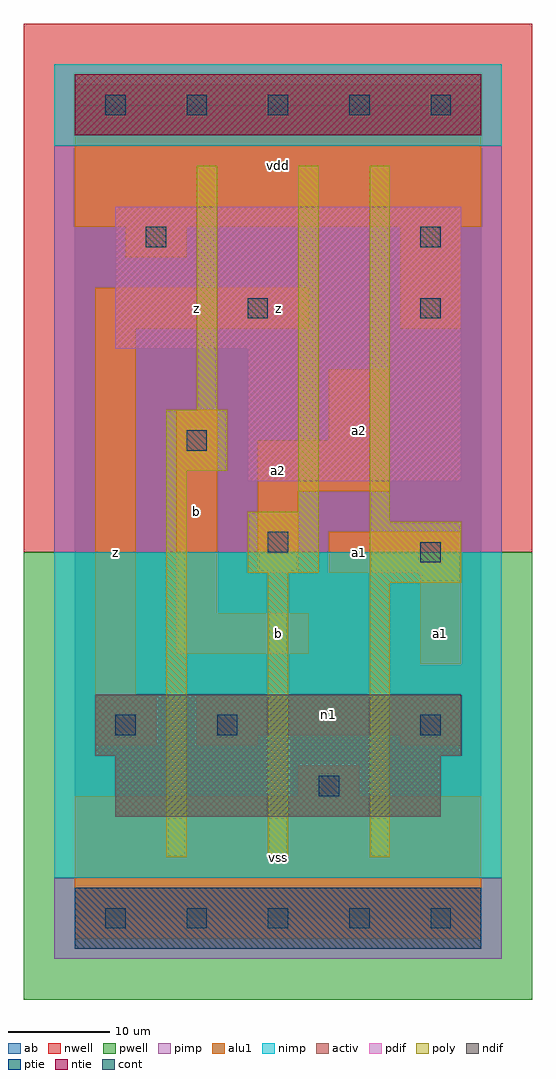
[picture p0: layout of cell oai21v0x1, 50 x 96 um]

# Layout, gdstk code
import gdstk
lib = gdstk.Library(unit=1e-6, precision=1e-09)
def R(c, l, rs):  # rectangles x0, y0, x1, y1
    for r in rs: c.add(gdstk.rectangle(r[:2], r[2:], *l))
def A(c, l, x, y, w, h, nx, ny, dx, dy):  # array of equal rectangles
    R(c, l, [(x+i*dx, y+j*dy, x+i*dx+w, y+j*dy+h) for i in range(nx) for j in range(ny)])
ndif = (3, 0)
pdif = (4, 0)
ntie = (5, 0)
ptie = (6, 0)
cont = (25, 0)
pwell = (41, 0)
nwell = (42, 0)
activ = (43, 0)
pimp = (44, 0)
nimp = (45, 0)
poly = (46, 0)
alu1 = (49, 0)
ab = (63, 0)

oai21v0x1 = lib.new_cell('oai21v0x1')
R(oai21v0x1, ndif, [(4,10,36,16), (2,16,38,22)])
R(oai21v0x1, pdif, [(17,43,38,56), (4,56,38,70)])
R(oai21v0x1, ntie, [(0,77,40,83)])
R(oai21v0x1, ptie, [(0,-3,40,3)])
A(oai21v0x1, cont, 3, -1, 2, 2, 5, 2, 8, 80)
R(oai21v0x1, cont, [(24,12,26,14), (4,18,6,20), (14,18,16,20), (34,18,36,20), (34,35,36,37), (19,36,21,38), (11,46,13,48), (17,59,19,61), (34,59,36,61), (7,66,9,68), (34,66,36,68)])
R(oai21v0x1, pwell, [(-5,-8,45,36)])
R(oai21v0x1, nwell, [(-5,36,45,88)])
R(oai21v0x1, activ, [(0,-3,40,3), (4,10,36,16), (2,16,38,22), (17,43,38,56), (4,56,38,70), (0,77,40,83)])
R(oai21v0x1, pimp, [(-2,-4,42,4), (-2,36,42,76)])
R(oai21v0x1, nimp, [(-2,4,42,36), (-2,76,42,84)])
R(oai21v0x1, poly, [(9,6,11,44), (19,6,21,34), (29,6,31,33), (29,33,38,39), (17,34,24,40), (29,39,31,74), (22,40,24,74), (9,44,15,50), (12,50,14,74)])
R(oai21v0x1, alu1, [(0,-2,40,12), (22,12,28,15), (2,17,8,22), (12,17,18,18), (32,17,38,18), (12,18,38,22), (2,22,6,58), (34,25,38,34), (10,26,23,30), (10,30,14,50), (18,34,22,42), (25,34,38,38), (18,42,31,47), (25,47,31,54), (2,58,23,62), (32,58,38,68), (5,65,11,68), (0,68,40,82)])
R(oai21v0x1, ab, [(0,0,40,80)])
oai21v0x1.add(gdstk.Label('n1', (25,20), layer=49, texttype=0))
oai21v0x1.add(gdstk.Label('z', (4,36), layer=49, texttype=0))
oai21v0x1.add(gdstk.Label('b', (12,40), layer=49, texttype=0))
oai21v0x1.add(gdstk.Label('z', (12,60), layer=49, texttype=0))
oai21v0x1.add(gdstk.Label('vss', (20,6), layer=49, texttype=0))
oai21v0x1.add(gdstk.Label('b', (20,28), layer=49, texttype=0))
oai21v0x1.add(gdstk.Label('a1', (28,36), layer=49, texttype=0))
oai21v0x1.add(gdstk.Label('a2', (20,44), layer=49, texttype=0))
oai21v0x1.add(gdstk.Label('a2', (28,48), layer=49, texttype=0))
oai21v0x1.add(gdstk.Label('z', (20,60), layer=49, texttype=0))
oai21v0x1.add(gdstk.Label('vdd', (20,74), layer=49, texttype=0))
oai21v0x1.add(gdstk.Label('a1', (36,28), layer=49, texttype=0))

lib.write_gds('oai21v0x1.gds')
